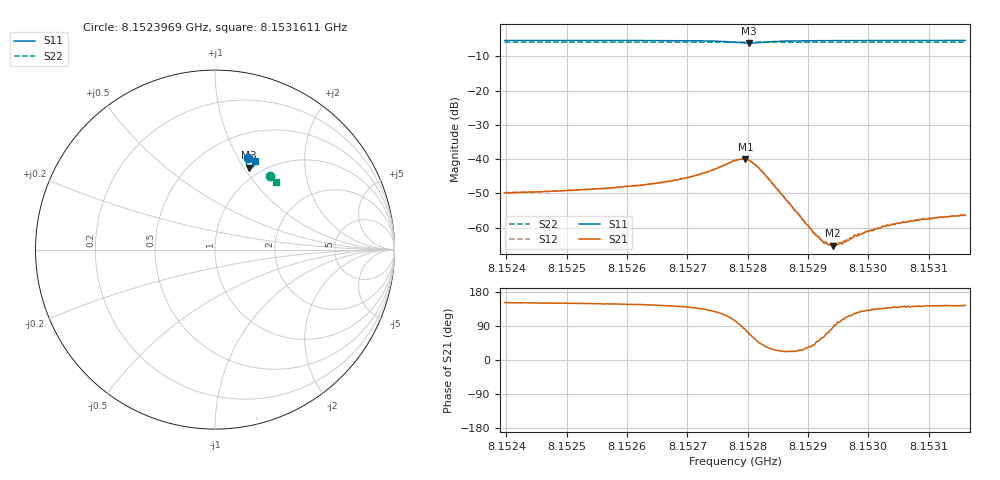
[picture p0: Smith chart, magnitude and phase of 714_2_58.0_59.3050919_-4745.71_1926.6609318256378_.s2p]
#  HZ  S  RI  R  50.00
! Rohde & Schwarz Vector Network Analyzer
! Rohde-Schwarz,ZNB20-2Port,1311601062101988,3.16
! Created: UTC 3/21/2024, 1:22:18 AM
! freq[Hz]  re:S11  im:S11  re:S21  im:S21  re:S12  im:S12  re:S22  im:S22
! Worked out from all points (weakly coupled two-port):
!   401 points, 8.1523969 GHz to 8.1531611 GHz, reference 50 ohm
!   highest |S21| = -39.99 dB at 8.1527962 GHz (marker M1); lowest = -65.2 dB at 8.1529414 GHz (marker M2)
!   lowest |S11| = -6.1 dB at 8.1528019 GHz (marker M3), VSWR 2.95, Z = 43.5 + j52.5 ohm
!   |S11| at or under -10 dB: nowhere
!   |S22| runs from -5.9 to -5.8 dB; largest |S21 - S12| = 0.00036
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8.15239688e9  0.1828 0.5085  -0.00284 0.00153  -0.00282 0.00159  0.3054 0.4099
8.15252488e9  0.1928 0.5047  -0.00309 0.00181  -0.00306 0.00189  0.3119 0.4049
8.15258411e9  0.1982 0.5026  -0.00328 0.00205  -0.00325 0.00214  0.3149 0.4024
8.15265288e9  0.205 0.4986  -0.00366 0.00265  -0.00366 0.0027  0.3183 0.3996
8.15268918e9  0.2094 0.4953  -0.004 0.00322  -0.00397 0.00331  0.3202 0.3979
8.15271975e9  0.2139 0.4903  -0.00426 0.00416  -0.00426 0.00423  0.3216 0.3965
8.15277898e9  0.2126 0.4617  -0.00222 0.00925  -0.00216 0.0093  0.324 0.3933
8.15279617e9  0.1944 0.4548  0.00175 0.00986  0.00189 0.00986  0.324 0.3925
8.1528019e9  0.1871 0.4569  0.00321 0.00909  0.00343 0.00916  0.324 0.3924
8.15281528e9  0.1763 0.4691  0.00508 0.0061  0.00508 0.00619  0.3244 0.3924
8.15282674e9  0.1754 0.4803  0.00486 0.00381  0.00497 0.00385  0.3249 0.3925
8.15290698e9  0.1979 0.4987  0.0007 0.000575  0.000705 0.000535  0.3298 0.3897
8.15292417e9  0.2008 0.4988  0.000335 0.000539  0.000345 0.000522  0.3308 0.389
8.15293181e9  0.202 0.4986  0.000188 0.000543  0.000215 0.000572  0.3311 0.3884
8.15294137e9  0.2034 0.4985  3.82e-05 0.000546  1.92e-05 0.000591  0.3315 0.3881
8.1529471e9  0.2042 0.4983  -3.76e-05 0.000553  -6.17e-05 0.000563  0.332 0.3879
8.15295856e9  0.2059 0.4982  -0.0002 0.00058  -0.000171 0.000632  0.3324 0.3873
8.15297958e9  0.2081 0.4976  -0.000409 0.000641  -0.000396 0.000603  0.3334 0.3866
8.15299104e9  0.2094 0.4974  -0.000515 0.000644  -0.000529 0.000673  0.334 0.3861
8.15303498e9  0.2136 0.4962  -0.000797 0.00072  -0.00079 0.000745  0.3362 0.3841
8.15309803e9  0.2192 0.4944  -0.00106 0.000811  -0.00107 0.000847  0.3391 0.3814
8.15316107e9  0.2241 0.4925  -0.00122 0.000893  -0.00122 0.000921  0.3421 0.3786
